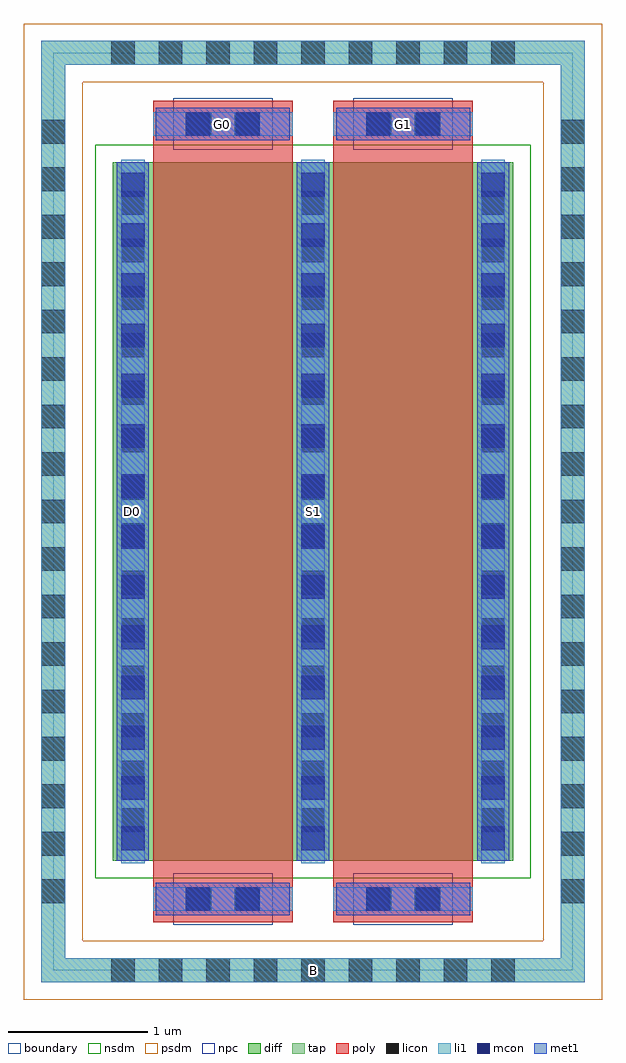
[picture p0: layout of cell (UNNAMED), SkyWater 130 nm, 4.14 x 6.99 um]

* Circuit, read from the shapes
.subckt (UNNAMED) B D0 G0 G1 S1
XM1 S1 G0 D0 B sky130_fd_pr__nfet_01v8 w=5 l=1
XM2 n1 G1 S1 B sky130_fd_pr__nfet_01v8 w=5 l=1
.ends

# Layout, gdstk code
import gdstk
lib = gdstk.Library(unit=1e-6, precision=1e-09)
def R(c, l, rs):  # rectangles x0, y0, x1, y1
    for r in rs: c.add(gdstk.rectangle(r[:2], r[2:], *l))
def A(c, l, x, y, w, h, nx, ny, dx, dy):  # array of equal rectangles
    R(c, l, [(x+i*dx, y+j*dy, x+i*dx+w, y+j*dy+h) for i in range(nx) for j in range(ny)])
diff = (65, 20)
tap = (65, 44)
poly = (66, 20)
licon = (66, 44)
li1 = (67, 20)
mcon = (67, 44)
met1 = (68, 20)
nsdm = (93, 44)
psdm = (94, 20)
npc = (95, 20)
boundary = (235, 4)

c__unnamed_ = lib.new_cell('(UNNAMED)')
R(c__unnamed_, diff, [(-1.435,-2.5,1.435,2.5)])
R(c__unnamed_, tap, [(-1.945,-3.37,1.945,-3.2), (-1.945,-3.2,-1.775,3.2), (1.775,-3.2,1.945,3.2), (-1.945,3.2,1.945,3.37)])
R(c__unnamed_, poly, [(-1.145,-2.94,-0.145,2.94), (0.145,-2.94,1.145,2.94)])
A(c__unnamed_, licon, -1.445, -3.37, 0.17, 0.17, 9, 2, 0.34, 6.57)
A(c__unnamed_, licon, -1.945, -2.805, 0.17, 0.17, 1, 17, 0, 0.34)
A(c__unnamed_, licon, 1.775, -2.805, 0.17, 0.17, 1, 17, 0, 0.34)
A(c__unnamed_, licon, -1.375, -2.295, 0.17, 0.17, 3, 14, 1.29, 0.34)
R(c__unnamed_, licon, [(-0.9,-2.86,-0.73,-2.69), (-0.56,-2.86,-0.39,-2.69), (0.39,-2.86,0.56,-2.69), (0.73,-2.86,0.9,-2.69), (-0.9,2.69,-0.73,2.86), (-0.56,2.69,-0.39,2.86), (0.39,2.69,0.56,2.86), (0.73,2.69,0.9,2.86)])
A(c__unnamed_, li1, -1.375, -2.52, 0.17, 5.04, 3, 1, 1.29, 0)
R(c__unnamed_, li1, [(-1.945,-3.37,1.945,-3.2), (-1.945,-3.2,-1.775,3.2), (1.775,-3.2,1.945,3.2), (-1.145,-2.86,-0.145,-2.69), (0.145,-2.86,1.145,-2.69), (-1.145,2.69,-0.145,2.86), (0.145,2.69,1.145,2.86), (-1.945,3.2,1.945,3.37)])
A(c__unnamed_, mcon, -1.375, -2.425, 0.17, 0.17, 3, 14, 1.29, 0.36)
R(c__unnamed_, mcon, [(-0.91,-2.86,-0.74,-2.69), (-0.55,-2.86,-0.38,-2.69), (0.38,-2.86,0.55,-2.69), (0.74,-2.86,0.91,-2.69), (-0.91,2.69,-0.74,2.86), (-0.55,2.69,-0.38,2.86), (0.38,2.69,0.55,2.86), (0.74,2.69,0.91,2.86)])
A(c__unnamed_, met1, -1.405, -2.5, 0.23, 5, 3, 1, 1.29, 0)
R(c__unnamed_, met1, [(-1.125,-2.89,-0.165,-2.66), (0.165,-2.89,1.125,-2.66), (-1.125,2.66,-0.165,2.89), (0.165,2.66,1.125,2.89)])
R(c__unnamed_, nsdm, [(-1.56,-2.625,1.56,2.625)])
R(c__unnamed_, psdm, [(-2.07,-3.495,2.07,-3.075), (-2.07,-3.075,-1.65,3.075), (1.65,-3.075,2.07,3.075), (-2.07,3.075,2.07,3.495)])
R(c__unnamed_, npc, [(-1,-2.96,-0.29,-2.59), (0.29,-2.96,1,-2.59), (-1,2.59,-0.29,2.96), (0.29,2.59,1,2.96)])
R(c__unnamed_, boundary, [(-1.86,-3.285,1.86,3.285)])
c__unnamed_.add(gdstk.Label('B', (0,-3.285), layer=67, texttype=5))
c__unnamed_.add(gdstk.Label('D0', (-1.29,0), layer=67, texttype=5))
c__unnamed_.add(gdstk.Label('G0', (-0.645,2.775), layer=67, texttype=5))
c__unnamed_.add(gdstk.Label('S1', (0,0), layer=67, texttype=5))
c__unnamed_.add(gdstk.Label('G1', (0.645,2.775), layer=67, texttype=5))

lib.write_gds('_UNNAMED_.gds')
